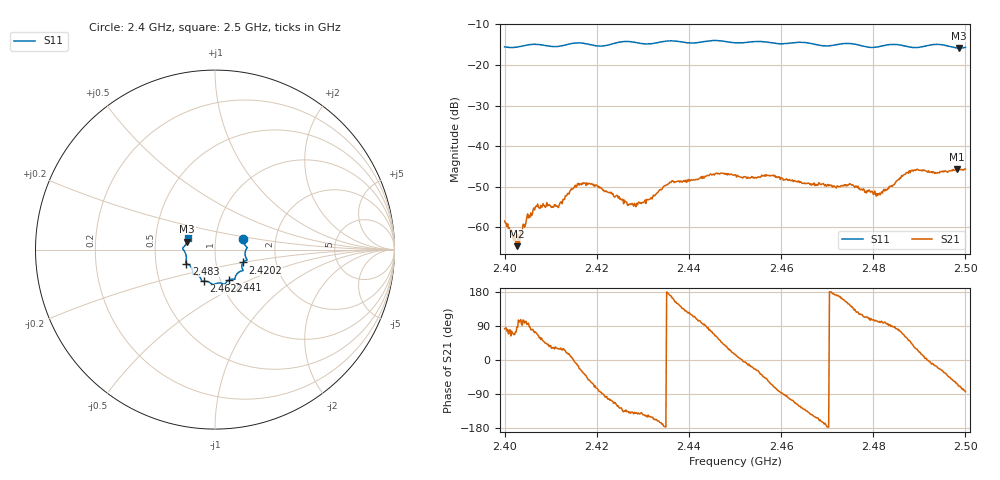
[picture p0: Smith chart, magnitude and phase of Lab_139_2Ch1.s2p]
# Hz S RI R 50
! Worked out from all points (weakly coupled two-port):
!   601 points, 2.4 GHz to 2.5 GHz, reference 50 ohm
!   highest |S21| = -45.57 dB at 2.4982 GHz (marker M1); lowest = -64.6 dB at 2.4027 GHz (marker M2)
!   lowest |S11| = -15.8 dB at 2.4987 GHz (marker M3), VSWR 1.39, Z = 36.4 + j3.29 ohm
!   |S11| at or under -10 dB: start of sweep to end of sweep
!   S12 and S22 are empty: the file has one direction only
!   S11 on the Smith chart (normalised r, x): 2.4 GHz: 1.36, +0.17; 2.4202 GHz: 1.35, -0.20; 2.441 GHz: 1.10, -0.39; 2.4622 GHz: 0.83, -0.30; 2.483 GHz: 0.72, -0.12; 2.5 GHz: 0.73, +0.09
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2.4e9  0.1564 0.0601  0.000159 0.00119  0 0  0 0
2.402667e9  0.1638 0.0295  2.58e-05 0.000586  0 0  0 0
2.406667e9  0.1797 0.0124  0.000479 0.00171  0 0  0 0
2.411667e9  0.1677 -0.0267  0.00153 0.000858  0 0  0 0
2.416667e9  0.1776 -0.0583  0.00295 -0.00159  0 0  0 0
2.420167e9  0.1561 -0.0717  0.000791 -0.00318  0 0  0 0
2.427167e9  0.1554 -0.1169  -0.00142 -0.00133  0 0  0 0
2.430167e9  0.1329 -0.1258  -0.00164 -0.00117  0 0  0 0
2.433333e9  0.1129 -0.1524  -0.00258 -0.000912  0 0  0 0
2.436167e9  0.1104 -0.1652  -0.00355 0.000693  0 0  0 0
2.441e9  0.0769 -0.1705  -0.00157 0.00354  0 0  0 0
2.45e9  0.0267 -0.1863  0.0043 0.00115  0 0  0 0
2.462167e9  -0.063 -0.1762  -0.000983 -0.00365  0 0  0 0
2.466667e9  -0.0765 -0.167  -0.00271 -0.00192  0 0  0 0
2.475167e9  -0.1258 -0.1342  -0.00268 0.00207  0 0  0 0
2.481e9  -0.1441 -0.0856  -0.000475 0.00244  0 0  0 0
2.483e9  -0.1592 -0.078  -0.000249 0.00288  0 0  0 0
2.483333e9  -0.1607 -0.0773  -4.41e-05 0.00299  0 0  0 0
2.488667e9  -0.1598 -0.0397  0.00384 0.0031  0 0  0 0
2.498167e9  -0.1583 0.0374  0.00244 -0.00466  0 0  0 0
2.498667e9  -0.1558 0.0441  0.0018 -0.00484  0 0  0 0
2.5e9  -0.153 0.0628  0.000576 -0.0052  0 0  0 0
